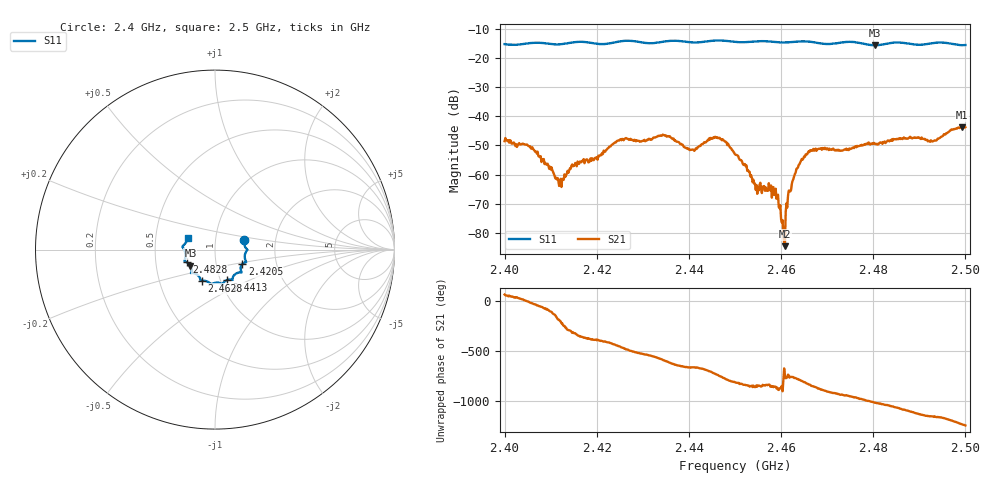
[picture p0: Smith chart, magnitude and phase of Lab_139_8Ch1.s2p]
# Hz S RI R 50
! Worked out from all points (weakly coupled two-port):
!   601 points, 2.4 GHz to 2.5 GHz, reference 50 ohm
!   highest |S21| = -43.76 dB at 2.4993 GHz (marker M1); lowest = -84.5 dB at 2.4608 GHz (marker M2)
!   lowest |S11| = -15.7 dB at 2.4803 GHz (marker M3), VSWR 1.39, Z = 37.4 - j6.82 ohm
!   |S11| at or under -10 dB: start of sweep to end of sweep
!   S12 and S22 are empty: the file has one direction only
!   S11 on the Smith chart (normalised r, x): 2.4 GHz: 1.38, +0.15; 2.4205 GHz: 1.34, -0.22; 2.4413 GHz: 1.08, -0.38; 2.4628 GHz: 0.82, -0.29; 2.4828 GHz: 0.72, -0.10; 2.5 GHz: 0.73, +0.10
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2.4e9  0.1626 0.0522  0.00135 0.00348  0 0  0 0
2.405833e9  0.179 0.00153  0.00264 -0.000854  0 0  0 0
2.411833e9  0.1659 -0.0346  -0.000638 5.14e-05  0 0  0 0
2.416667e9  0.1737 -0.0696  0.00162 0.00013  0 0  0 0
2.4205e9  0.1516 -0.0807  0.00178 -0.00103  0 0  0 0
2.425e9  0.1466 -0.1217  -0.000112 -0.00395  0 0  0 0
2.433333e9  0.1002 -0.1516  -0.00406 0.00221  0 0  0 0
2.441333e9  0.0674 -0.1695  0.00141 0.00226  0 0  0 0
2.446167e9  0.0419 -0.1929  0.00418 -0.00118  0 0  0 0
2.45e9  0.0247 -0.1852  -4.99e-05 -0.00222  0 0  0 0
2.454667e9  -0.0147 -0.1904  -0.000351 -0.000564  0 0  0 0
2.458833e9  -0.0364 -0.1816  -0.00041 -0.000401  0 0  0 0
2.460333e9  -0.0493 -0.1758  -0.000167 3.52e-06  0 0  0 0
2.460833e9  -0.0544 -0.1743  5.54e-05 -2.21e-05  0 0  0 0
2.462833e9  -0.0714 -0.1736  0.000624 -0.000701  0 0  0 0
2.466667e9  -0.0812 -0.1674  -0.00159 -0.002  0 0  0 0
2.480333e9  -0.137 -0.0887  0.00148 0.00307  0 0  0 0
2.482833e9  -0.1586 -0.0702  0.00274 0.00237  0 0  0 0
2.483333e9  -0.1626 -0.0685  0.003 0.00233  0 0  0 0
2.493167e9  -0.1786 0.0106  0.000759 -0.00371  0 0  0 0
2.499333e9  -0.1546 0.0544  -0.00584 -0.00283  0 0  0 0
2.5e9  -0.1518 0.064  -0.00623 -0.00178  0 0  0 0
